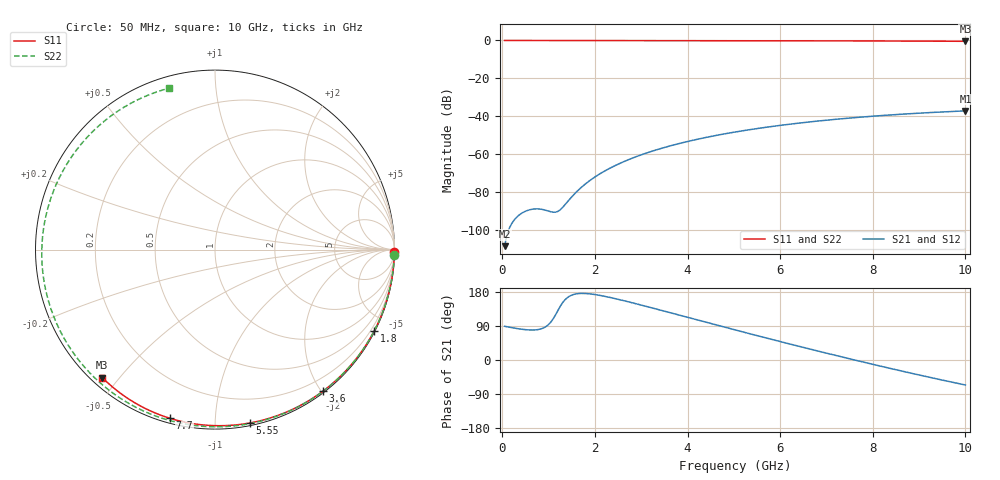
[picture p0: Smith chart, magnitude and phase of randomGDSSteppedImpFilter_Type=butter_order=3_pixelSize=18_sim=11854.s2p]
! freq	dB(S11)	phase(S11)	dB(S12)	phase(S12)
!  dB(S21)	phase(S21)	dB(S22)	phase(S22)
!S-par simulation data
#  GHz  S  DB  R 50
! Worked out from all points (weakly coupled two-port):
!   200 points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, 50 MHz to 10 GHz, reference 50 ohm
!   highest |S21| = -37.21 dB at 10 GHz (marker M1); lowest = -108.7 dB at 50 MHz (marker M2)
!   lowest |S11| = -0.4 dB at 10 GHz (marker M3), VSWR 39.13, Z = 1.54 - j22.6 ohm
!   |S11| at or under -10 dB: nowhere
!   |S22| runs from -0.6 to 0.0 dB; largest |S21 - S12| = 0
!   S11 on the Smith chart (normalised r, x): 50 MHz: open; 1.8 GHz: 0.04, -4.18; 3.6 GHz: 0.02, -2.02; 5.55 GHz: 0.02, -1.22; 7.7 GHz: 0.02, -0.77; 10 GHz: 0.03, -0.45
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0.05  -0.00 -0.8  -108.69 89.0  -108.69 89.0  -0.00 -1.6
0.4  -0.01 -6.1  -91.58 81.5  -91.58 81.5  -0.02 -12.9
0.8  -0.02 -12.1  -89.04 81.0  -89.04 81.0  -0.03 -25.7
1.2  -0.02 -18.0  -90.31 130.5  -90.31 130.5  -0.05 -38.2
1.6  -0.03 -24.0  -80.06 174.6  -80.06 174.6  -0.06 -50.4
1.75  -0.03 -26.2  -76.70 175.7  -76.70 175.7  -0.07 -54.9
1.8  -0.03 -26.9  -75.69 175.5  -75.69 175.5  -0.07 -56.4
2.1  -0.04 -31.3  -70.57 170.7  -70.57 170.7  -0.08 -65.1
2.45  -0.05 -36.4  -65.96 161.6  -65.96 161.6  -0.09 -75.1
2.9  -0.06 -42.8  -61.32 148.1  -61.32 148.1  -0.11 -87.4
3.4  -0.07 -49.9  -57.25 132.1  -57.25 132.1  -0.12 -100.5
3.6  -0.07 -52.6  -55.86 125.6  -55.86 125.6  -0.13 -105.6
4.3  -0.09 -62.2  -51.74 102.8  -51.74 102.8  -0.16 -122.7
5.05  -0.11 -72.2  -48.28 78.7  -48.28 78.7  -0.20 -140.1
5.55  -0.13 -78.6  -46.37 62.8  -46.37 62.8  -0.22 -151.4
6.15  -0.15 -86.2  -44.41 44.0  -44.41 44.0  -0.26 -164.7
6.7  -0.18 -93.0  -42.87 27.1  -42.87 27.1  -0.30 -176.7
7.2  -0.21 -99.1  -41.65 12.1  -41.65 12.1  -0.34 172.2
7.7  -0.24 -105.0  -40.59 -2.7  -40.59 -2.7  -0.38 161.1
8.35  -0.29 -112.6  -39.40 -21.4  -39.40 -21.4  -0.43 146.3
9.25  -0.37 -122.9  -38.08 -46.3  -38.08 -46.3  -0.51 124.9
10  -0.44 -131.4  -37.21 -66.0  -37.21 -66.0  -0.58 106.1
